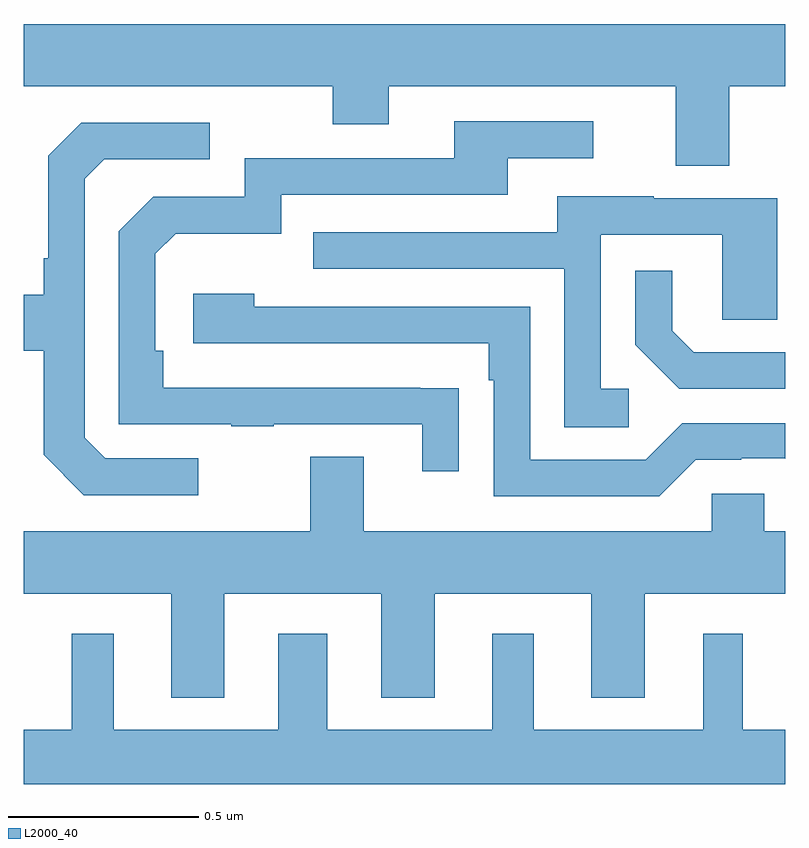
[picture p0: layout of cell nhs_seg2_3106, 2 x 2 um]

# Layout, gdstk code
import gdstk
lib = gdstk.Library(unit=1e-6, precision=1e-09)
def P(c, l, *ps):  # polygons
    for p in ps: c.add(gdstk.Polygon(p, *l))
L2000_40 = (2000, 40)

nhs_seg2_3106 = lib.new_cell('nhs_seg2_3106')
P(nhs_seg2_3106, L2000_40, [(150.853,651.632),(151,651.632),(151,651.796),(149,651.796),(149,651.632),(149.812,651.632),(149.812,651.533),(149.959,651.533),(149.959,651.632),(150.713,651.632),(150.713,651.424),(150.853,651.424)],
  [(150.143,650.84),(150.041,650.84),(150.041,650.841),(149.366,650.841),(149.366,650.938),(149.346,650.938),(149.346,651.192),(149.399,651.245),(149.676,651.245),(149.676,651.348),(150.271,651.348),(150.271,651.444),(150.496,651.444),(150.496,651.54),(150.131,651.54),(150.131,651.444),(149.58,651.444),(149.58,651.342),(149.34,651.342),(149.25,651.252),(149.25,650.745),(149.545,650.745),(149.545,650.74),(149.657,650.74),(149.657,650.745),(150.047,650.745),(150.047,650.622),(150.143,650.622)],
  [(149.458,650.655),(149.214,650.655),(149.16,650.709),(149.16,651.39),(149.211,651.441),(149.488,651.441),(149.488,651.537),(149.151,651.537),(149.064,651.45),(149.064,651.181),(149.052,651.181),(149.052,651.085),(149,651.085),(149,650.938),(149.052,650.938),(149.052,650.665),(149.157,650.559),(149.458,650.559)],
  [(150.589,650.838),(150.516,650.838),(150.516,651.243),(150.834,651.243),(150.834,651.019),(150.979,651.019),(150.979,651.339),(150.655,651.339),(150.655,651.343),(150.401,651.343),(150.401,651.249),(149.761,651.249),(149.761,651.153),(150.42,651.153),(150.42,650.737),(150.589,650.737)],
  [(151,650.934),(150.76,650.934),(150.703,650.991),(150.703,651.148),(150.606,651.148),(150.606,650.954),(150.722,650.838),(151,650.838)],
  [(150.765,650.652),(150.884,650.652),(150.884,650.655),(150.999,650.655),(151,650.654),(151,650.748),(150.729,650.748),(150.633,650.652),(150.33,650.652),(150.33,651.054),(149.606,651.054),(149.606,651.088),(149.445,651.088),(149.445,650.958),(150.221,650.958),(150.221,650.861),(150.234,650.861),(150.234,650.556),(150.669,650.556)],
  [(149.527,650.3),(149.939,650.3),(149.939,650.027),(150.079,650.027),(150.079,650.3),(150.491,650.3),(150.491,650.027),(150.631,650.027),(150.631,650.3),(151,650.3),(151,650.464),(150.945,650.464),(150.945,650.562),(150.807,650.562),(150.807,650.464),(149.893,650.464),(149.893,650.659),(149.753,650.659),(149.753,650.464),(149,650.464),(149,650.3),(149.387,650.3),(149.387,650.027),(149.527,650.027)],
  [(151,649.942),(150.889,649.942),(150.889,650.194),(150.785,650.194),(150.785,649.942),(150.34,649.942),(150.34,650.194),(150.23,650.194),(150.23,649.942),(149.797,649.942),(149.797,650.194),(149.669,650.194),(149.669,649.942),(149.236,649.942),(149.236,650.194),(149.126,650.194),(149.126,649.942),(149,649.942),(149,649.8),(151,649.8)])

lib.write_gds('nhs_seg2_3106.gds')
